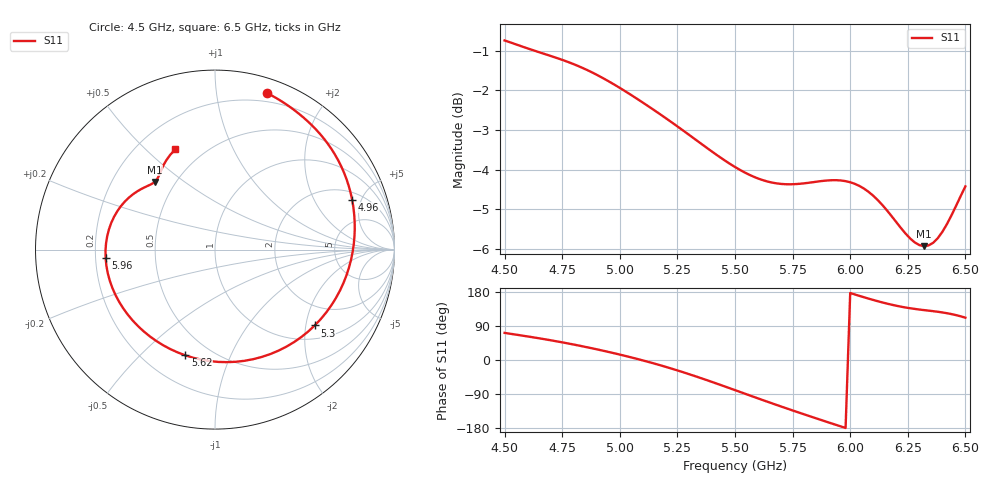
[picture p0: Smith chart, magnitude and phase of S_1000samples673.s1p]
! TOUCHSTONE file generated by CST MICROWAVE STUDIO
! Date and time: Fri Oct 28 23:49:55 2022
! Project name: L.cst
! Parameters = {Di=1.27; Epsilon_r=1.56; InnerDiameter=1.27; Length=2; Lf=10; Lg=60; OuterConductorThickness=0.2921; OuterDiameter=3.6; Wf=3; Wp=41.2; de=1.5; df=6.8; g=0.8; gx=2.17099; gy=1.58551; h=2.34; hf=1.524; px=10.1736; py=11.6636; w=9.7; wx=8.00261; wy=10.0781}
! Header version: 2018
! Port assignment regex: !\s*Touchstone port\s*([0-9]+)\s*=\s*(CST MWS port|CST DS port)\s*([0-9]+|Zmin|Zmax)\s*\(\"(.*)\"\)(\s*mode\s*([0-9]+))?.*
! Touchstone port assignment:
! Touchstone port 1 = CST MWS port 1 ("")
# GHz S DB R 50
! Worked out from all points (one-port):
!   101 points, 4.5 GHz to 6.5 GHz, reference 50 ohm
!   lowest |S11| = -5.9 dB at 6.32 GHz (marker M1), VSWR 3.04, Z = 19.3 + j19.6 ohm
!   |S11| at or under -10 dB: nowhere
!   S11 on the Smith chart (normalised r, x): 4.5 GHz: 0.12, +1.38; 4.96 GHz: 2.55, +4.18; 5.3 GHz: 1.36, -2.25; 5.62 GHz: 0.37, -0.69; 5.96 GHz: 0.24, -0.04; 6.5 GHz: 0.35, +0.62
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4.5  -0.74 71.5
4.64  -1.02 58.2
4.76  -1.25 45.5
4.86  -1.49 33.4
4.96  -1.80 20.0
5  -1.94 14.3
5.08  -2.23 2.1
5.14  -2.46 -7.7
5.2  -2.70 -18.2
5.26  -2.95 -29.4
5.3  -3.12 -37.2
5.4  -3.54 -57.9
5.5  -3.93 -79.5
5.56  -4.13 -92.6
5.62  -4.27 -105.6
5.68  -4.35 -118.5
5.76  -4.37 -135.2
5.86  -4.30 -155.5
5.96  -4.28 -175.4
6  -4.32 176.8
6.06  -4.48 165.5
6.14  -4.90 151.8
6.2  -5.33 143.2
6.26  -5.74 136.6
6.32  -5.94 131.7
6.4  -5.57 125.5
6.46  -4.91 118.4
6.5  -4.42 111.6
